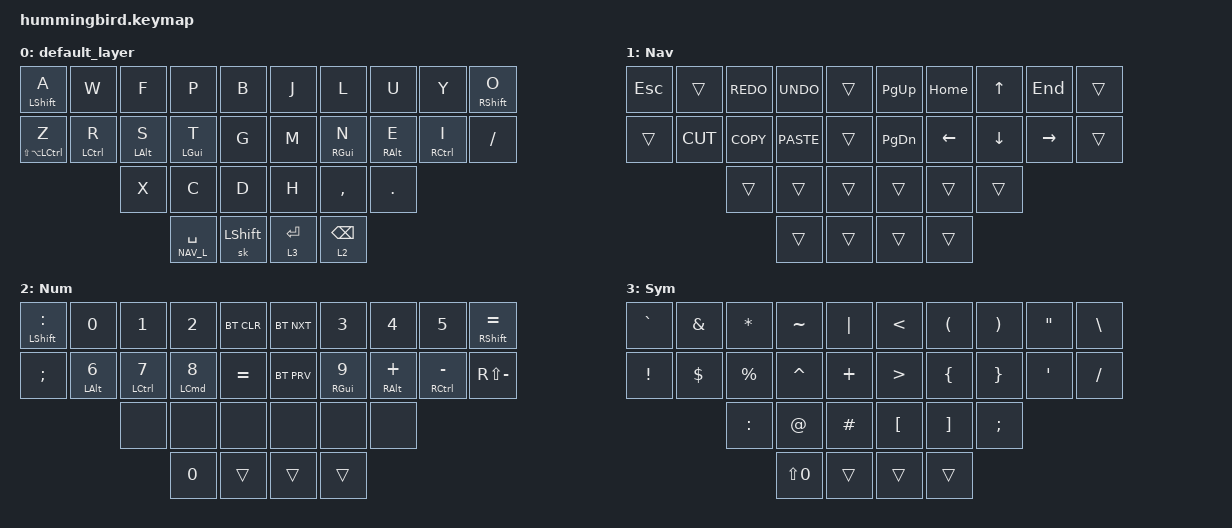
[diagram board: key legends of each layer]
/*
 * Copyright (c) 2022 The ZMK Contributors
 *
 * SPDX-License-Identifier: MIT
 */

#include <behaviors.dtsi>
#include <dt-bindings/zmk/bt.h>
#include <dt-bindings/zmk/keys.h>

#define DEF_L 0
#define NAV_L 1
#define NUM_L 2
#define SYM_L 3

// Using layer taps on thumbs, having quick tap as well helps w/ repeating space/backspace

&lt {
    quick_tap_ms = <200>;
};

/ {
    behaviors {
        hm: homerow_mods {
            compatible = "zmk,behavior-hold-tap";
            label = "homerow mods";
            #binding-cells = <2>;
            tapping_term_ms = <225>;
            flavor = "tap-preferred";
            bindings =
                <&kp>,
                <&kp>;
        };
    };

    combos {
        compatible = "zmk,combos";

        combo_z {
            timeout-ms = <50>;
            key-positions = <1 2>;
            bindings = <&kp Q>;
        };

        combo_v {
            timeout-ms = <50>;
            key-positions = <21 22>;
            bindings = <&kp V>;
        };

        combo_k {
            timeout-ms = <50>;
            key-positions = <23 24>;
            bindings = <&kp K>;
        };

        combo_tab {
            timeout-ms = <50>;
            key-positions = <0 10>;
            bindings = <&kp TAB>;
        };

        combo_esc {
            bindings = <&kp ESC>;
            key-positions = <1 0>;
        };

        combo_slash {
            bindings = <&kp APOS>;
            key-positions = <8 7>;
        };

        combo_semi {
            bindings = <&kp SEMICOLON>;
            key-positions = <24 25>;
        };

        combo_m {
            bindings = <&kp M>;
            key-positions = <6 7>;
        };

        combo_j {
            bindings = <&kp J>;
            key-positions = <6 8>;
        };

        combo-g {
            bindings = <&kp G>;
            key-positions = <3 2>;
        };

        combo-b {
            bindings = <&kp B>;
            key-positions = <1 3>;
        };
    };

    keymap {
        compatible = "zmk,keymap";

        default_layer {
            bindings = <
               &hm LSHFT A        &kp W       &kp F            &kp P           &kp B          &kp J       &kp L       &kp U        &kp Y  &hm RSHIFT O
&hm LS(LA(LEFT_CONTROL)) Z  &hm LCTRL R  &hm LALT S       &hm LGUI T           &kp G          &kp M  &hm RGUI N  &hm RALT E  &hm RCTRL I     &kp SLASH
                                  &kp X       &kp C            &kp D                                      &kp H   &kp COMMA      &kp DOT
                                                     &lt NAV_L SPACE  &sk LEFT_SHIFT    &lt 3 ENTER  &lt 2 BSPC
            >;
        };

        nav_layer {
            label = "Nav";
            bindings = <
&kp ESC     &trans  &kp K_REDO   &kp K_UNDO  &trans    &kp PG_UP        &kp HOME  &kp UP_ARROW    &kp END  &trans
 &trans  &kp K_CUT  &kp K_COPY  &kp K_PASTE  &trans    &kp PG_DN  &kp LEFT_ARROW      &kp DOWN  &kp RIGHT  &trans
            &trans      &trans       &trans                               &trans        &trans     &trans
                                     &trans  &trans       &trans          &trans
            >;
        };

        num_layer {
            label = "Num";
            bindings = <
&hm LEFT_SHIFT COLON       &kp NUMBER_0        &kp NUMBER_1       &kp NUMBER_2  &bt BT_CLR    &bt BT_NXT       &kp NUMBER_3   &kp NUMBER_4     &kp NUMBER_5  &hm RSHIFT EQUAL
            &kp SEMI  &hm LALT NUMBER_6  &hm LCTRL NUMBER_7  &hm LCMD NUMBER_8   &kp EQUAL    &bt BT_PRV  &hm RGUI NUMBER_9  &hm RALT PLUS  &hm RCTRL MINUS     &kp RS(MINUS)
                                  &none               &none              &none                                        &none          &none            &none
                                                                        &kp N0      &trans        &trans             &trans
            >;
        };

        sym_layer {
            label = "Sym";
            bindings = <
&kp GRAVE  &kp AMPERSAND  &kp ASTERISK   &kp TILDE  &kp PIPE       &kp LESS_THAN  &kp LEFT_PARENTHESIS           &kp RPAR  &kp DOUBLE_QUOTES   &kp BSLH
 &kp EXCL     &kp DOLLAR   &kp PERCENT   &kp CARET  &kp PLUS    &kp GREATER_THAN        &kp LEFT_BRACE    &kp RIGHT_BRACE   &kp SINGLE_QUOTE  &kp SLASH
               &kp COLON   &kp AT_SIGN    &kp HASH                                    &kp LEFT_BRACKET  &kp RIGHT_BRACKET      &kp SEMICOLON
                                        &kp LS(N0)    &trans              &trans                &trans
            >;
        };
    };
};
